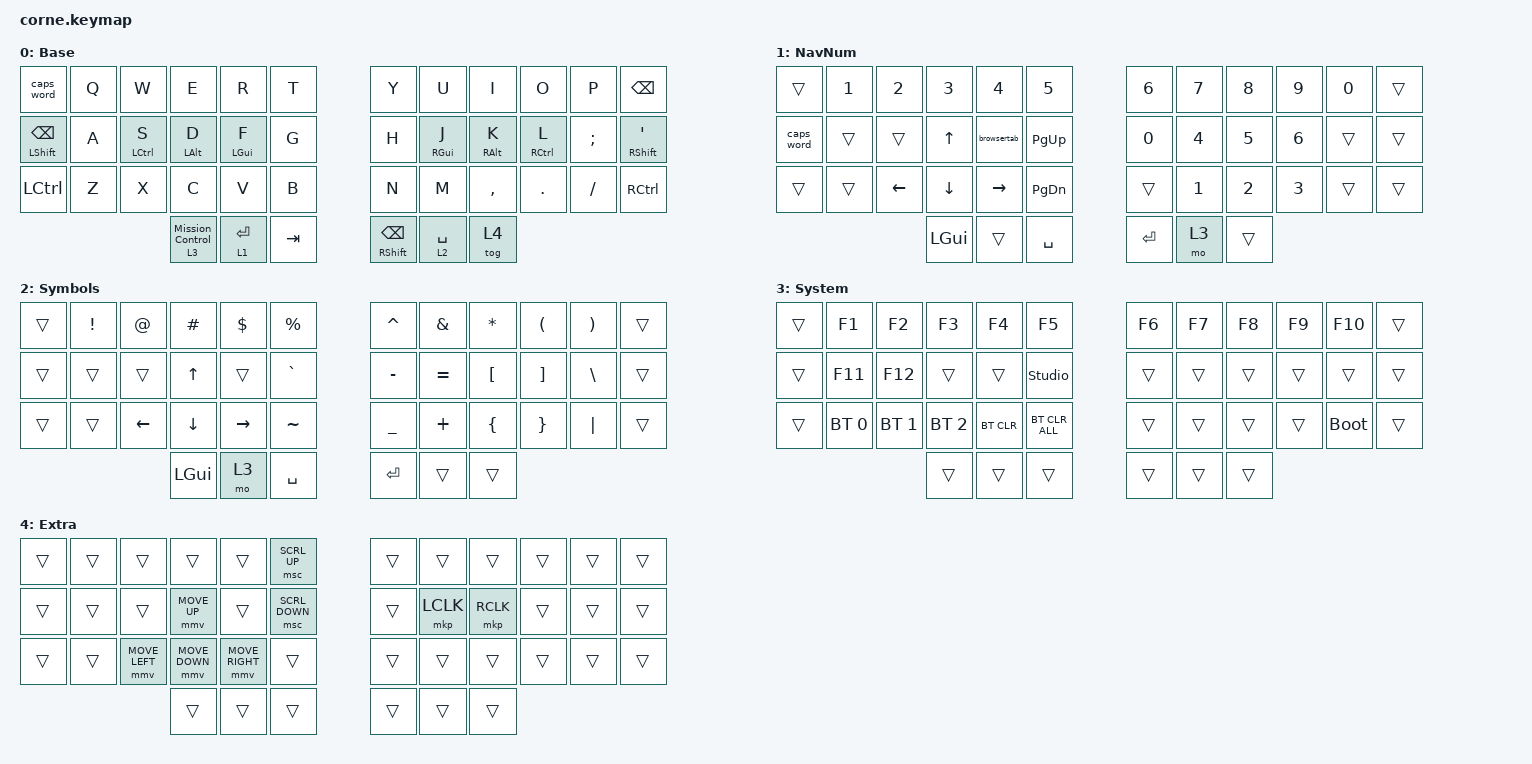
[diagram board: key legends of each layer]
#include <behaviors.dtsi>
#include <dt-bindings/zmk/bt.h>
#include <dt-bindings/zmk/keys.h>
#include <dt-bindings/zmk/pointing.h>

#define DEF 0
#define NAV 1
#define SYM 2
#define ADJ 3
#define EXTRA 4

/ {
    behaviors {
        hm: homerow_mods {
            compatible = "zmk,behavior-hold-tap";
            #binding-cells = <2>;
            tapping-term-ms = <200>;
            flavor = "tap-preferred";
            bindings = <&kp>, <&kp>;

            quick-tap-ms = <180>;
            require-prior-idle-ms = <120>; /* tune to taste */
        };

        para: para {
            compatible = "zmk,behavior-tap-dance";
            #binding-cells = <0>;
            bindings = <&kp LEFT_PARENTHESIS>, <&kp RIGHT_PARENTHESIS>;
        };

        caps: caps {
            compatible = "zmk,behavior-caps-word";
            #binding-cells = <0>;
            continue-list = <MINUS BACKSPACE>;
        };

        paraless: paraless {
            compatible = "zmk,behavior-mod-morph";
            bindings = <&kp LEFT_PARENTHESIS>, <&kp LESS_THAN>;

            #binding-cells = <0>;
            mods = <(MOD_LSFT)>;
        };

        paragreat: paragreat {
            compatible = "zmk,behavior-mod-morph";
            bindings = <&kp RIGHT_PARENTHESIS>, <&kp GREATER_THAN>;

            #binding-cells = <0>;
            mods = <(MOD_LSFT)>;
        };

        new_behavior: tap_dance_tappy {
            compatible = "zmk,behavior-hold-tap";
            label = "TAP_DANCER";
            bindings = <&kp>, <&kp>;

            #binding-cells = <2>;
            tapping-term-ms = <200>;
        };

        Hold_tap_layer_mc: Hold_tap_layer_mc {
            compatible = "zmk,behavior-hold-tap";
            label = "HOLD_TAP_LAYER_MC";
            bindings = <&mo>, <&Mission_Control>;

            #binding-cells = <2>;
            tapping-term-ms = <200>;
        };
    };

    macros {
        browsertab: browsertab {
            compatible = "zmk,behavior-macro";
            #binding-cells = <0>;
            bindings =
                <&macro_press>,
                <&kp LCTRL>,
                <&macro_tap>,
                <&kp TAB>,
                <&macro_release>,
                <&kp LCTRL>;
        };

        Mission_Control: mission_control {
            compatible = "zmk,behavior-macro";
            #binding-cells = <0>;
            bindings =
                <&macro_press>,
                <&kp RCTRL>,
                <&macro_tap>,
                <&kp UP_ARROW>,
                <&macro_release>,
                <&kp RCTRL>;

            label = "mission_control";
        };
    };

    combos {
        compatible = "zmk,combos";

        escape {
            bindings = <&kp ESCAPE>;
            key-positions = <13 29>;
        };

        delete {
            bindings = <&kp DELETE>;
            key-positions = <15 21>;
        };

        perc {
            bindings = <&kp PERCENT>;
            key-positions = <5 17>;
            layers = <0>;
        };

        equal {
            bindings = <&kp EQUAL>;
            key-positions = <28 16>;
            layers = <0>;
        };

        dollar {
            bindings = <&kp DOLLAR>;
            key-positions = <4 16>;
            layers = <0>;
        };

        pound {
            bindings = <&kp POUND>;
            key-positions = <3 15>;
            layers = <0>;
        };

        at {
            bindings = <&kp AT>;
            key-positions = <2 14>;
            layers = <0>;
        };

        backslash {
            bindings = <&kp BACKSLASH>;
            key-positions = <26 14>;
            layers = <0>;
        };

        star {
            bindings = <&kp STAR>;
            key-positions = <8 20>;
            layers = <0>;
        };

        slash {
            bindings = <&kp SLASH>;
            key-positions = <32 20>;
            layers = <0>;
        };

        plus {
            bindings = <&kp PLUS>;
            key-positions = <7 19>;
            layers = <0>;
        };

        minus {
            bindings = <&kp KP_MINUS>;
            key-positions = <31 19>;
            layers = <0>;
        };

        underscore {
            bindings = <&kp UNDER>;
            key-positions = <30 18>;
            layers = <0>;
        };

        leftbrack {
            bindings = <&kp LEFT_BRACKET>;
            key-positions = <31 32>;
            layers = <0>;
        };

        rightbrack {
            bindings = <&kp RIGHT_BRACKET>;
            key-positions = <33 32>;
            layers = <0>;
        };

        para-less {
            bindings = <&paraless>;
            key-positions = <20 19>;
            layers = <0>;
        };

        para-great {
            bindings = <&paragreat>;
            key-positions = <20 21>;
            layers = <0>;
        };
    };

    //

    keymap {
        compatible = "zmk,keymap";

        DEF {
            display-name = "Base";

            // -----------------------------------------------------------------------------------------
            // |  Q  |  W  |  E  |  R  |  T  |   |  Y  |  U   |  I  |  O  |  P  |
            // |  A  |  S  |  D  |  F  |  G  |   |  H  |  J   |  K  |  L  |  ;  |
            // |  Z  |  X  |  C  |  V  |  B  |   |  N  |  M   |  ,  |  .  |  /  |
            // | GUI | CTRL | SHFT | LWR | SPC |   | ENT | RSE  | BKSP | ALT | ESC |

            bindings = <
&caps_word                &kp Q  &kp W        &kp E                   &kp R       &kp T      &kp Y                      &kp U            &kp I            &kp O        &kp P     &kp BACKSPACE
&mt LEFT_SHIFT BACKSPACE  &kp A  &hm LCTRL S  &hm LEFT_ALT D          &hm LGUI F  &kp G      &kp H                      &hm RIGHT_GUI J  &hm RIGHT_ALT K  &hm RCTRL L  &kp SEMI  &mt RIGHT_SHIFT SQT
&kp LCTRL                 &kp Z  &kp X        &kp C                   &kp V       &kp B      &kp N                      &kp M            &kp COMMA        &kp DOT      &kp FSLH  &kp RCTRL
                                              &Hold_tap_layer_mc 3 0  &lt 1 RET   &kp TAB    &mt RIGHT_SHIFT BACKSPACE  &lt 2 SPACE      &tog 4
            >;
        };

        NAV {
            display-name = "NavNum";

            // -----------------------------------------------------------------------------------------
            // |  TAB |  1  |  2  |  3  |  4  |  5  |   |  6  |  7  |  8  |  9  |  0  | BKSP |
            // | BTCLR| BT1 | BT2 | BT3 | BT4 | BT5 |   | LFT | DWN |  UP | RGT |     |      |
            // | SHFT |     |     |     |     |     |   |     |     |     |     |     |      |
            // | GUI | CTRL | SHFT | LWR | SPC |   | ENT | RSE  | BKSP | ALT | ESC |

            bindings = <
&trans      &kp N1  &kp N2    &kp N3        &kp N4           &kp N5           &kp N6   &kp N7  &kp N8  &kp N9  &kp N0  &trans
&caps_word  &trans  &trans    &kp UP_ARROW  &browsertab      &kp PAGE_UP      &kp N0   &kp N4  &kp N5  &kp N6  &trans  &trans
&trans      &trans  &kp LEFT  &kp DOWN      &kp RIGHT_ARROW  &kp PAGE_DOWN    &trans   &kp N1  &kp N2  &kp N3  &trans  &trans
                              &kp LGUI      &trans           &kp SPACE        &kp RET  &mo 3   &trans
            >;
        };

        SYM {
            display-name = "Symbols";

            // -----------------------------------------------------------------------------------------
            // |  TAB |  !  |  @  |  #  |  $  |  %  |   |  ^  |  &  |  *  |  (  |  )  | BKSP |
            // | CTRL |     |     |     |     |     |   |  -  |  =  |  [  |  ]  |  \  |  `   |
            // | SHFT |     |     |     |     |     |   |  _  |  +  |  {  |  }  | "|" |  ~   |
            //                    | GUI |     | SPC |   | ENT |     | ALT |

            bindings = <
&trans  &kp EXCL  &kp AT          &kp HASH        &kp DLLR         &kp PRCNT    &kp CARET  &kp AMPS   &kp ASTRK  &kp LEFT_PARENTHESIS  &kp RPAR  &trans
&trans  &trans    &trans          &kp UP_ARROW    &trans           &kp GRAVE    &kp MINUS  &kp EQUAL  &kp LBKT   &kp RBKT              &kp BSLH  &trans
&trans  &trans    &kp LEFT_ARROW  &kp DOWN_ARROW  &kp RIGHT_ARROW  &kp TILDE    &kp UNDER  &kp PLUS   &kp LBRC   &kp RBRC              &kp PIPE  &trans
                                  &kp LGUI        &mo 3            &kp SPACE    &kp RET    &trans     &trans
            >;
        };

        ADJ {
            display-name = "System";
            bindings = <
&trans  &kp F1        &kp F2        &kp F3        &kp F4      &kp F5            &kp F6  &kp F7  &kp F8  &kp F9  &kp F10      &trans
&trans  &kp F11       &kp F12       &trans        &trans      &studio_unlock    &trans  &trans  &trans  &trans  &trans       &trans
&trans  &bt BT_SEL 0  &bt BT_SEL 1  &bt BT_SEL 2  &bt BT_CLR  &bt BT_CLR_ALL    &trans  &trans  &trans  &trans  &bootloader  &trans
                                    &trans        &trans      &trans            &trans  &trans  &trans
            >;
        };

        EXTRA {
            display-name = "Extra";
            bindings = <
&trans  &trans  &trans          &trans          &trans           &msc SCRL_UP      &trans  &trans     &trans     &trans  &trans  &trans
&trans  &trans  &trans          &mmv MOVE_UP    &trans           &msc SCRL_DOWN    &trans  &mkp LCLK  &mkp RCLK  &trans  &trans  &trans
&trans  &trans  &mmv MOVE_LEFT  &mmv MOVE_DOWN  &mmv MOVE_RIGHT  &trans            &trans  &trans     &trans     &trans  &trans  &trans
                                &trans          &trans           &trans            &trans  &trans     &trans
            >;
        };
    };
};
